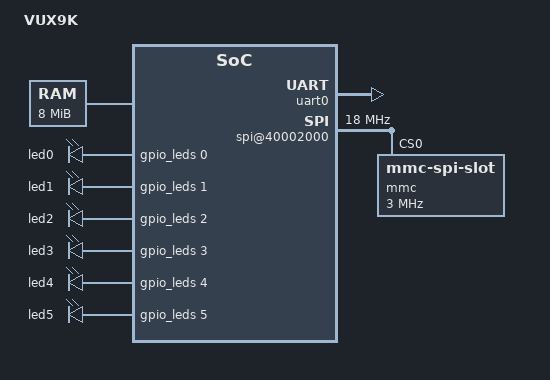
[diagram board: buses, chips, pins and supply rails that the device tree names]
// Copyright (c) 2026 Takayuki Nagata
// SPDX-License-Identifier: MIT

// noMMU Linux on VUX9K: the SoC as synthesized, its CLINT block and liteuart registers the
// RTL's, so the same tree is meant for the board and serves the emulator's real profile (vux9k-emu --linux;
// docs/agents/linux.md). The memory is all of the
// PSRAM: the stages' memory (0x806F_0000 up) is free once the kernel runs. The DTB sits in its
// top 64 KB (0x807F_0000), which the kernel keeps.
/dts-v1/;

/ {
	#address-cells = <1>;
	#size-cells = <1>;
	model = "VUX9K";
	compatible = "vux9k,soc";

	chosen {
		stdout-path = &uart0;
	};

	cpus {
		#address-cells = <1>;
		#size-cells = <0>;
		timebase-frequency = <18000000>;

		cpu0: cpu@0 {
			device_type = "cpu";
			reg = <0>;
			compatible = "riscv";
			riscv,isa-base = "rv32i";
			/* No zicntr: mcounteren is 0, so cycle/time/instret trap in U-mode */
			riscv,isa-extensions = "i", "m", "a", "zicsr", "zifencei";
			mmu-type = "riscv,none";

			cpu0_intc: interrupt-controller {
				#address-cells = <0>;
				#interrupt-cells = <1>;
				compatible = "riscv,cpu-intc";
				interrupt-controller;
			};
		};
	};

	memory@80000000 {
		device_type = "memory";
		reg = <0x80000000 0x800000>;
	};

	soc {
		#address-cells = <1>;
		#size-cells = <1>;
		compatible = "simple-bus";
		ranges;

		clint@20000000 {
			compatible = "riscv,clint0";
			reg = <0x20000000 0x10000>;
			interrupts-extended = <&cpu0_intc 3>, <&cpu0_intc 7>;
		};

		uart0: serial@40000000 {
			compatible = "litex,liteuart";
			reg = <0x40000000 0x100>;
		};

		/*
		 * The SD card's SPI port (this tree's spi-vux9k-sd, linux_workspace/kernel/patches/):
		 * polled, SCLK = clock-frequency / (2 * divider), 3 MHz at most. The card is
		 * mmc_spi's; with no card-detect line it polls the card every second.
		 */
		spi@40002000 {
			compatible = "vux9k,sd-spi";
			reg = <0x40002000 0x10>;
			clock-frequency = <18000000>;
			#address-cells = <1>;
			#size-cells = <0>;

			mmc@0 {
				compatible = "mmc-spi-slot";
				reg = <0>;
				spi-max-frequency = <3000000>;
				voltage-ranges = <3300 3300>;
			};
		};

		/*
		 * The GPIO block (README's address map) as two of upstream's gpio-mmio chips, one
		 * register each, 32-bit accesses (the block ignores byte strobes): the 6 LEDs'
		 * register at 0x0 (bit n = LED n, 1 = lit, read back; no direction register, so
		 * gpio-mmio makes every line an output), and the button S2's at 0x4 (bit 0, 1 while
		 * pressed), input only. Neither covers 0x8/0xC, the soft reset's registers.
		 * No interrupt: whoever reads the button polls it (sysmon).
		 */
		gpio_leds: gpio@40003000 {
			compatible = "wd,mbl-gpio";
			reg = <0x40003000 0x4>;
			reg-names = "dat";
			ngpios = <6>;
			gpio-controller;
			#gpio-cells = <2>;
		};

		gpio_button: gpio@40003004 {
			compatible = "wd,mbl-gpio";
			reg = <0x40003004 0x4>;
			reg-names = "dat";
			ngpios = <1>;
			no-output;
			gpio-controller;
			#gpio-cells = <2>;
			label = "button";
		};
	};

	/*
	 * /sys/class/leds/led0-5 (the flags cell 0: active high, the GPIO block inverts the
	 * pins): led0 the kernel's heartbeat (faster under load), led1 the SD card's accesses
	 * (mmc0), led2-5 sysmon's bar (linux_workspace/userland/sysmon/). The shell can give any
	 * of them another trigger (echo timer > /sys/class/leds/led0/trigger) or none.
	 */
	leds {
		compatible = "gpio-leds";

		led-0 {
			label = "led0";
			gpios = <&gpio_leds 0 0>;
			linux,default-trigger = "heartbeat";
		};
		led-1 {
			label = "led1";
			gpios = <&gpio_leds 1 0>;
			linux,default-trigger = "mmc0";
		};
		led-2 {
			label = "led2";
			gpios = <&gpio_leds 2 0>;
			default-state = "off";
		};
		led-3 {
			label = "led3";
			gpios = <&gpio_leds 3 0>;
			default-state = "off";
		};
		led-4 {
			label = "led4";
			gpios = <&gpio_leds 4 0>;
			default-state = "off";
		};
		led-5 {
			label = "led5";
			gpios = <&gpio_leds 5 0>;
			default-state = "off";
		};
	};
};
